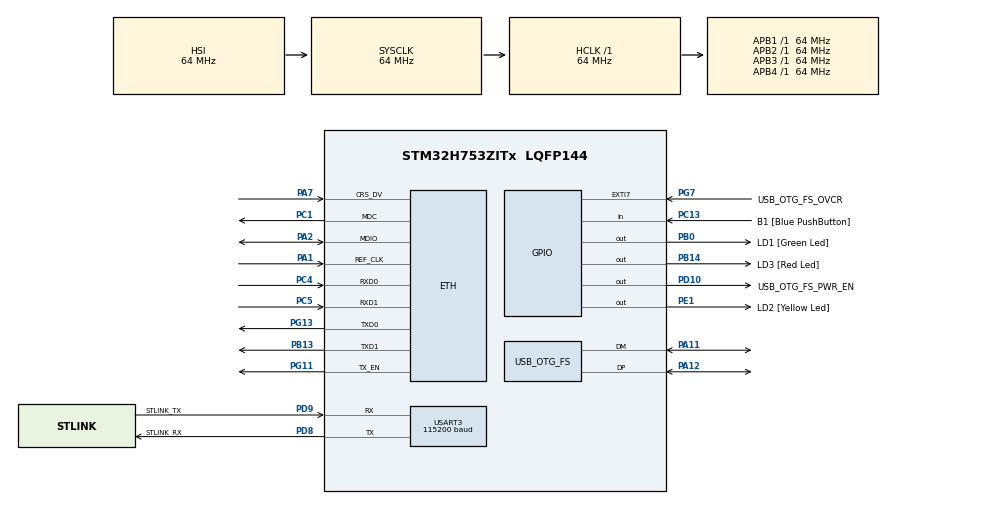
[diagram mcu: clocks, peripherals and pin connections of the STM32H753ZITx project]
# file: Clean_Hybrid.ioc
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CORTEX_M7.CPU_DCache=Disabled
CORTEX_M7.CPU_ICache=Disabled
CORTEX_M7.MPU_Control=__NULL
ETH.ETH_RX_DESC_CNT=4
ETH.ETH_TX_DESC_CNT=4
ETH.MACAddr=00\:80\:E1\:00\:00\:00
ETH.MediaInterface=HAL_ETH_RMII_MODE
ETH.RxBuffAddress=0x30040200
ETH.RxBuffLen=1524
ETH.RxDescAddress=0x30040000
ETH.TxDescAddress=0x30040060
Mcu.Family=STM32H7
Mcu.Name=STM32H753ZITx
Mcu.Package=LQFP144
NVIC.OTG_FS_IRQn=true\:0\:0\:false\:false\:true\:true\:true\:true
NVIC.PriorityGroup=NVIC_PRIORITYGROUP_4
PA1.Mode=RMII
PA1.Signal=ETH_REF_CLK
PA11.Mode=Device_Only
PA11.Signal=USB_OTG_FS_DM
PA12.Mode=Device_Only
PA12.Signal=USB_OTG_FS_DP
PA2.Mode=RMII
PA2.Signal=ETH_MDIO
PA7.Mode=RMII
PA7.Signal=ETH_CRS_DV
PA8.Signal=USB_OTG_FS_SOF
PA9.Signal=USB_OTG_FS_VBUS
PB0.GPIO_Label=LD1 [Green Led]
PB0.Signal=GPIO_Output
PB13.Mode=RMII
PB13.Signal=ETH_TXD1
PB14.GPIO_Label=LD3 [Red Led]
PB14.Signal=GPIO_Output
PC1.Mode=RMII
PC1.Signal=ETH_MDC
PC13.GPIO_Label=B1 [Blue PushButton]
PC13.Signal=GPIO_Input
PC14-OSC32_IN\ (OSC32_IN).Mode=LSE-External-Oscillator
PC14-OSC32_IN\ (OSC32_IN).Signal=RCC_OSC32_IN
PC15-OSC32_OUT\ (OSC32_OUT).Mode=LSE-External-Oscillator
PC15-OSC32_OUT\ (OSC32_OUT).Signal=RCC_OSC32_OUT
PC4.Mode=RMII
PC4.Signal=ETH_RXD0
PC5.Mode=RMII
PC5.Signal=ETH_RXD1
PD10.GPIO_Label=USB_OTG_FS_PWR_EN
PD10.Signal=GPIO_Output
PD8.GPIO_Label=STLINK_RX
PD8.Mode=Asynchronous
PD8.Signal=USART3_TX
PD9.GPIO_Label=STLINK_TX
PD9.Mode=Asynchronous
PD9.Signal=USART3_RX
PE1.GPIO_Label=LD2 [Yellow Led]
PE1.Signal=GPIO_Output
PG11.Mode=RMII
PG11.Signal=ETH_TX_EN
PG13.Mode=RMII
PG13.Signal=ETH_TXD0
PG7.GPIO_Label=USB_OTG_FS_OVCR
PG7.Signal=GPXTI7
PH0-OSC_IN\ (PH0).Mode=HSE-External-Clock-Source
PH0-OSC_IN\ (PH0).Signal=RCC_OSC_IN
PH1-OSC_OUT\ (PH1).Signal=RCC_OSC_OUT
ProjectManager.HeapSize=0x200
ProjectManager.StackSize=0x400
ProjectManager.TargetToolchain=STM32CubeIDE
RCC.ADCFreq_Value=16125000
RCC.APB1Freq_Value=64000000
RCC.APB2Freq_Value=64000000
RCC.APB3Freq_Value=64000000
RCC.APB4Freq_Value=64000000
RCC.CortexFreq_Value=64000000
RCC.DIVM1=1
RCC.DIVN1=24
RCC.DIVQ1=4
RCC.HCLKFreq_Value=64000000
RCC.HSE_VALUE=8000000
RCC.PLLFRACN=0
RCC.PLLSourceVirtual=RCC_PLLSOURCE_HSE
RCC.PWR_Regulator_Voltage_Scale=PWR_REGULATOR_VOLTAGE_SCALE2
RCC.SYSCLKFreq_VALUE=64000000
RCC.USBFreq_Value=48000000
USART3.AutoBaudRateEnableParam=UART_ADVFEATURE_AUTOBAUDRATE_DISABLE
USART3.BaudRate=115200
USART3.ClockPrescaler=PRESCALER_DIV1
USART3.DMADisableonRxErrorParam=ADVFEATURE_DMA_ENABLEONRXERROR
USART3.DataInvertParam=ADVFEATURE_DATAINV_DISABLE
USART3.FIFOMode=FIFOMODE_DISABLE
USART3.MSBFirstParam=ADVFEATURE_MSBFIRST_DISABLE
USART3.Mode=MODE_TX_RX
USART3.OneBitSampling=UART_ONE_BIT_SAMPLE_DISABLE
USART3.OverSampling=UART_OVERSAMPLING_16
USART3.OverrunDisableParam=ADVFEATURE_OVERRUN_ENABLE
USART3.Parity=PARITY_NONE
USART3.RXFIFOThreshold=RXFIFO_THRESHOLD_1EIGHTHFULL
USART3.RxPinLevelInvertParam=ADVFEATURE_RXINV_DISABLE
USART3.StopBits=STOPBITS_1
USART3.SwapParam=ADVFEATURE_SWAP_DISABLE
USART3.TXFIFOThreshold=TXFIFO_THRESHOLD_1EIGHTHFULL
USART3.TxPinLevelInvertParam=ADVFEATURE_TXINV_DISABLE
USART3.VirtualMode-Asynchronous=VM_ASYNC
USART3.WordLength=WORDLENGTH_8B
USB_DEVICE.CLASS_NAME_FS=CDC
USB_DEVICE.VirtualMode-CDC_FS=Cdc
USB_DEVICE.VirtualModeFS=Cdc_FS
USB_OTG_FS.VirtualMode=Device_Only
VP_USB_DEVICE_VS_USB_DEVICE_CDC_FS.Mode=CDC_FS
board=NUCLEO-H753ZI

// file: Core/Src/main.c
/* USER CODE BEGIN Header */
/**
  ******************************************************************************
  * @file           : main.c
  * @brief          : Main program body
  ******************************************************************************
  * @attention
  *
  * Copyright (c) 2023 STMicroelectronics.
  * All rights reserved.
  *
  * This software is licensed under terms that can be found in the LICENSE file
  * in the root directory of this software component.
  * If no LICENSE file comes with this software, it is provided AS-IS.
  *
  ******************************************************************************
  */
/* USER CODE END Header */
#include "main.h"
#include "string.h"
#include "usb_device.h"

/* USER CODE BEGIN Includes */
#include "usbd_cdc_if.h"
#include "ed25519_signature.h"
#include <oqs/oqs.h>
#include "sign.h"

/* USER CODE END Includes */

#if defined ( __ICCARM__ ) /*!< IAR Compiler */
#pragma location=0x30040000
ETH_DMADescTypeDef  DMARxDscrTab[ETH_RX_DESC_CNT]; /* Ethernet Rx DMA Descriptors */
#pragma location=0x30040060
ETH_DMADescTypeDef  DMATxDscrTab[ETH_TX_DESC_CNT]; /* Ethernet Tx DMA Descriptors */

#elif defined ( __CC_ARM )  /* MDK ARM Compiler */

__attribute__((at(0x30040000))) ETH_DMADescTypeDef  DMARxDscrTab[ETH_RX_DESC_CNT]; /* Ethernet Rx DMA Descriptors */
__attribute__((at(0x30040060))) ETH_DMADescTypeDef  DMATxDscrTab[ETH_TX_DESC_CNT]; /* Ethernet Tx DMA Descriptors */

#elif defined ( __GNUC__ ) /* GNU Compiler */
ETH_DMADescTypeDef DMARxDscrTab[ETH_RX_DESC_CNT] __attribute__((section(".RxDecripSection"))); /* Ethernet Rx DMA Descriptors */
ETH_DMADescTypeDef DMATxDscrTab[ETH_TX_DESC_CNT] __attribute__((section(".TxDecripSection")));   /* Ethernet Tx DMA Descriptors */

#endif

ETH_TxPacketConfig TxConfig;

ETH_HandleTypeDef heth;

UART_HandleTypeDef huart3;

void SystemClock_Config(void);
static void MX_GPIO_Init(void);
static void MX_ETH_Init(void);
static void MX_USART3_UART_Init(void);
/* USER CODE BEGIN PFP */
void receiveData(size_t size);
/* USER CODE END PFP */

/* USER CODE BEGIN 0 */
uint8_t* buffer;
size_t buffer_size;
uint8_t done;

void cleanup_heap(uint8_t *public_key,
                  uint8_t *message, uint8_t *signature) {

	free(public_key);
	free(message);
	free(signature);
}

void fn_cleanup(uint8_t *public_key,
                  uint8_t *message) {

	free(public_key);
	free(message);
}

void print(char* msg){
	CDC_Transmit_FS((uint8_t *)msg, strlen(msg) + 1);
}

static OQS_STATUS QverifyPacket(Packet *pkt){

#ifdef OQS_ENABLE_SIG_dilithium_5
	uint8_t *public_key = NULL;
	int result;
//	int sTime, eTime;
//	char time[20];

	size_t message_len = sizeof(pkt->version) + sizeof(pkt->size) + pkt->size;
	unsigned char* message = malloc(message_len);
	memset(message, 0U, message_len);
	memcpy(message, &pkt->version, sizeof(pkt->version));
	memcpy(message + sizeof(pkt->version), &pkt->size, sizeof(pkt->size));
	memcpy(message + sizeof(pkt->version) + sizeof(pkt->size), pkt->payload, pkt->size);

	public_key = malloc(OQS_SIG_dilithium_5_length_public_key);

	print("Send Quantum Public Key\n");
	receiveData(OQS_SIG_dilithium_5_length_public_key);
	memcpy(public_key, buffer, OQS_SIG_dilithium_5_length_public_key);
	free(buffer);

//	sTime = HAL_GetTick();
	result = pqcrystals_dilithium5_ref_verify(pkt->Qsignature, pkt->sigSize, message, message_len, public_key);
//	eTime = HAL_GetTick();
	if(result != 0){
		print("ERROR:OQS_SIG_verify failed!\n");
		cleanup_heap(public_key, message, pkt->Qsignature);
		return OQS_ERROR;
	}

//	itoa(eTime-sTime, time, 10);
//	print("Quantum Time\n");
//	print(time);

	fn_cleanup(public_key, message);
	return OQS_SUCCESS;
#else
	printf("OQS_ENABLE_SIG_dilithium_5 was not enabled at compile time.\n");
	return OQS_SUCCESS;
#endif
}

int CverifyPacket(Packet *pkt){

	uint8_t* public_key;
//	int sTime, eTime;
//	char time[20];

	public_key = malloc(ed25519_public_key_size);

	print("Send Classic Public Key\n");
	receiveData(ed25519_public_key_size);
	memcpy(public_key, buffer, ed25519_public_key_size);
	free(buffer);
//	sTime = HAL_GetTick();
	if(ed25519_VerifySignature(pkt->Csignature, public_key, pkt->Qsignature, pkt->sigSize) == 0){
		print("Classic Signature Verification Error\n");
		exit(1);
	}
//	eTime = HAL_GetTick();
//	itoa(eTime-sTime, time, 10);
//	print("Classic Time\n");
//	print(time);

	OQS_MEM_insecure_free(public_key);
	return 0;
}

int verifyChecksum(Packet *pkt){
	int size = 0;
	unsigned char *temp = NULL;
	unsigned char  tempChecksum = pkt->checksum;

	size = sizeof(pkt->version) + sizeof(pkt->size) + pkt->size + sizeof(pkt->sigSize) + pkt->sigSize + ed25519_signature_size;
	temp = malloc(size);
	memcpy(temp, &pkt->version, sizeof(pkt->version));
	memcpy(temp + sizeof(pkt->version), &pkt->size, sizeof(pkt->size));
	memcpy(temp + sizeof(pkt->version) + sizeof(pkt->size), pkt->payload, pkt->size);
	memcpy(temp + sizeof(pkt->version) + sizeof(pkt->size) + pkt->size, &pkt->sigSize, sizeof(pkt->sigSize));
	memcpy(temp + sizeof(pkt->version) + sizeof(pkt->size) + pkt->size + sizeof(pkt->sigSize), pkt->Qsignature, pkt->sigSize);
	memcpy(temp + sizeof(pkt->version) + sizeof(pkt->size) + pkt->size + sizeof(pkt->sigSize) + pkt->sigSize, pkt->Csignature, ed25519_signature_size);

	for (int i = 0; i < size; i++){
			tempChecksum ^= temp[i];
	}
	free(temp);

	return tempChecksum;

}

OQS_STATUS Process_Data_to_Pkt(Packet *pkt){
	int cur_Pos = 0;

	memcpy(&pkt->version, buffer, sizeof(pkt->version));
	cur_Pos += sizeof(pkt->version);

	memcpy(&pkt->size, buffer + cur_Pos, sizeof(pkt->size));
	cur_Pos += sizeof(pkt->size);

	pkt->payload = malloc(pkt->size);
	memcpy(pkt->payload, buffer + cur_Pos, pkt->size);
	cur_Pos += pkt->size;

	memcpy(&pkt->sigSize, buffer + cur_Pos, sizeof(pkt->sigSize));
	cur_Pos += sizeof(pkt->sigSize);

	pkt->Qsignature = malloc(pkt->sigSize);
	memcpy(pkt->Qsignature, buffer + cur_Pos, pkt->sigSize);
	cur_Pos += pkt->sigSize;

	pkt->Csignature = malloc(ed25519_signature_size);
	memcpy(pkt->Csignature, buffer + cur_Pos, ed25519_signature_size);
	cur_Pos += ed25519_signature_size;

	memcpy(&pkt->checksum, buffer + cur_Pos, sizeof(pkt->checksum));
	cur_Pos += sizeof(pkt->checksum);

	if(cur_Pos == buffer_size){
		return OQS_SUCCESS;
	}
	else{
		return OQS_ERROR;
	}
}

void receiveData(size_t size){
	buffer_size = 0;
	buffer = malloc(size);
	done = 0;
	HAL_GPIO_WritePin(GPIOB, LD3_Pin, GPIO_PIN_SET);
	while(done == 0){
		HAL_Delay(1000);
	}
	HAL_GPIO_WritePin(GPIOB, LD3_Pin, GPIO_PIN_RESET);

}

void getPacket(Packet *pkt, int packet_size){
	receiveData(packet_size);
	HAL_GPIO_WritePin(GPIOB, LD1_Pin, GPIO_PIN_SET);

	if(Process_Data_to_Pkt(pkt) != OQS_SUCCESS){
		  free(buffer);
		  free(pkt->payload);
		  free(pkt->Qsignature);
		  free(pkt->Csignature);
		  exit(1);
	  }
	  free(buffer);

	  if(verifyChecksum(pkt) != 0){
		    HAL_GPIO_WritePin(GPIOB, LD3_Pin, GPIO_PIN_SET);
			exit(1);
	  }
	  if(CverifyPacket(pkt)){
		    HAL_GPIO_WritePin(GPIOB, LD3_Pin, GPIO_PIN_SET);
			exit(1);
	  }

	  if(QverifyPacket(pkt) != OQS_SUCCESS){
		    HAL_GPIO_WritePin(GPIOB, LD3_Pin, GPIO_PIN_SET);
			exit(1);
	  }

	  HAL_GPIO_WritePin(GPIOB, LD1_Pin, GPIO_PIN_RESET);
	  print("Packet OK!\n");

}
/* USER CODE END 0 */

int main(void)
{

  /* MCU Configuration--------------------------------------------------------*/

  /* Reset of all peripherals, Initializes the Flash interface and the Systick. */
  HAL_Init();

  /* Configure the system clock */
  SystemClock_Config();

  /* Initialize all configured peripherals */
  MX_GPIO_Init();
  MX_ETH_Init();
  MX_USART3_UART_Init();
  MX_USB_DEVICE_Init();
  /* USER CODE BEGIN 2 */

  Packet pkt;

  getPacket(&pkt, 154609);
//  getPacket(&pkt, 209473);

  free(pkt.payload);
  free(pkt.Qsignature);
  free(pkt.Csignature);
  /* USER CODE END 2 */

  /* Infinite loop */
  while (1)
  {

  }
}

void SystemClock_Config(void)
{
  RCC_OscInitTypeDef RCC_OscInitStruct = {0};
  RCC_ClkInitTypeDef RCC_ClkInitStruct = {0};

  /** Supply configuration update enable
  */
  HAL_PWREx_ConfigSupply(PWR_LDO_SUPPLY);

  /** Configure the main internal regulator output voltage
  */
  __HAL_PWR_VOLTAGESCALING_CONFIG(PWR_REGULATOR_VOLTAGE_SCALE2);

  while(!__HAL_PWR_GET_FLAG(PWR_FLAG_VOSRDY)) {}

  /** Initializes the RCC Oscillators according to the specified parameters
  * in the RCC_OscInitTypeDef structure.
  */
  RCC_OscInitStruct.OscillatorType = RCC_OSCILLATORTYPE_HSI|RCC_OSCILLATORTYPE_HSE;
  RCC_OscInitStruct.HSEState = RCC_HSE_BYPASS;
  RCC_OscInitStruct.HSIState = RCC_HSI_DIV1;
  RCC_OscInitStruct.HSICalibrationValue = RCC_HSICALIBRATION_DEFAULT;
  RCC_OscInitStruct.PLL.PLLState = RCC_PLL_ON;
  RCC_OscInitStruct.PLL.PLLSource = RCC_PLLSOURCE_HSE;
  RCC_OscInitStruct.PLL.PLLM = 1;
  RCC_OscInitStruct.PLL.PLLN = 24;
  RCC_OscInitStruct.PLL.PLLP = 2;
  RCC_OscInitStruct.PLL.PLLQ = 4;
  RCC_OscInitStruct.PLL.PLLR = 2;
  RCC_OscInitStruct.PLL.PLLRGE = RCC_PLL1VCIRANGE_3;
  RCC_OscInitStruct.PLL.PLLVCOSEL = RCC_PLL1VCOWIDE;
  RCC_OscInitStruct.PLL.PLLFRACN = 0;
  if (HAL_RCC_OscConfig(&RCC_OscInitStruct) != HAL_OK)
  {
    Error_Handler();
  }

  /** Initializes the CPU, AHB and APB buses clocks
  */
  RCC_ClkInitStruct.ClockType = RCC_CLOCKTYPE_HCLK|RCC_CLOCKTYPE_SYSCLK
                              |RCC_CLOCKTYPE_PCLK1|RCC_CLOCKTYPE_PCLK2
                              |RCC_CLOCKTYPE_D3PCLK1|RCC_CLOCKTYPE_D1PCLK1;
  RCC_ClkInitStruct.SYSCLKSource = RCC_SYSCLKSOURCE_HSI;
  RCC_ClkInitStruct.SYSCLKDivider = RCC_SYSCLK_DIV1;
  RCC_ClkInitStruct.AHBCLKDivider = RCC_HCLK_DIV1;
  RCC_ClkInitStruct.APB3CLKDivider = RCC_APB3_DIV1;
  RCC_ClkInitStruct.APB1CLKDivider = RCC_APB1_DIV1;
  RCC_ClkInitStruct.APB2CLKDivider = RCC_APB2_DIV1;
  RCC_ClkInitStruct.APB4CLKDivider = RCC_APB4_DIV1;

  if (HAL_RCC_ClockConfig(&RCC_ClkInitStruct, FLASH_LATENCY_1) != HAL_OK)
  {
    Error_Handler();
  }
}

static void MX_ETH_Init(void)
{

   static uint8_t MACAddr[6];

  heth.Instance = ETH;
  MACAddr[0] = 0x00;
  MACAddr[1] = 0x80;
  MACAddr[2] = 0xE1;
  MACAddr[3] = 0x00;
  MACAddr[4] = 0x00;
  MACAddr[5] = 0x00;
  heth.Init.MACAddr = &MACAddr[0];
  heth.Init.MediaInterface = HAL_ETH_RMII_MODE;
  heth.Init.TxDesc = DMATxDscrTab;
  heth.Init.RxDesc = DMARxDscrTab;
  heth.Init.RxBuffLen = 1524;

  if (HAL_ETH_Init(&heth) != HAL_OK)
  {
    Error_Handler();
  }

  memset(&TxConfig, 0 , sizeof(ETH_TxPacketConfig));
  TxConfig.Attributes = ETH_TX_PACKETS_FEATURES_CSUM | ETH_TX_PACKETS_FEATURES_CRCPAD;
  TxConfig.ChecksumCtrl = ETH_CHECKSUM_IPHDR_PAYLOAD_INSERT_PHDR_CALC;
  TxConfig.CRCPadCtrl = ETH_CRC_PAD_INSERT;

}

static void MX_USART3_UART_Init(void)
{

  huart3.Instance = USART3;
  huart3.Init.BaudRate = 115200;
  huart3.Init.WordLength = UART_WORDLENGTH_8B;
  huart3.Init.StopBits = UART_STOPBITS_1;
  huart3.Init.Parity = UART_PARITY_NONE;
  huart3.Init.Mode = UART_MODE_TX_RX;
  huart3.Init.HwFlowCtl = UART_HWCONTROL_NONE;
  huart3.Init.OverSampling = UART_OVERSAMPLING_16;
  huart3.Init.OneBitSampling = UART_ONE_BIT_SAMPLE_DISABLE;
  huart3.Init.ClockPrescaler = UART_PRESCALER_DIV1;
  huart3.AdvancedInit.AdvFeatureInit = UART_ADVFEATURE_NO_INIT;
  if (HAL_UART_Init(&huart3) != HAL_OK)
  {
    Error_Handler();
  }
  if (HAL_UARTEx_SetTxFifoThreshold(&huart3, UART_TXFIFO_THRESHOLD_1_8) != HAL_OK)
  {
    Error_Handler();
  }
  if (HAL_UARTEx_SetRxFifoThreshold(&huart3, UART_RXFIFO_THRESHOLD_1_8) != HAL_OK)
  {
    Error_Handler();
  }
  if (HAL_UARTEx_DisableFifoMode(&huart3) != HAL_OK)
  {
    Error_Handler();
  }

}

static void MX_GPIO_Init(void)
{
  GPIO_InitTypeDef GPIO_InitStruct = {0};

  /* GPIO Ports Clock Enable */
  __HAL_RCC_GPIOC_CLK_ENABLE();
  __HAL_RCC_GPIOH_CLK_ENABLE();
  __HAL_RCC_GPIOA_CLK_ENABLE();
  __HAL_RCC_GPIOB_CLK_ENABLE();
  __HAL_RCC_GPIOD_CLK_ENABLE();
  __HAL_RCC_GPIOG_CLK_ENABLE();
  __HAL_RCC_GPIOE_CLK_ENABLE();

  /*Configure GPIO pin Output Level */
  HAL_GPIO_WritePin(GPIOB, LD1_Pin|LD3_Pin, GPIO_PIN_RESET);

  /*Configure GPIO pin Output Level */
  HAL_GPIO_WritePin(USB_OTG_FS_PWR_EN_GPIO_Port, USB_OTG_FS_PWR_EN_Pin, GPIO_PIN_RESET);

  /*Configure GPIO pin Output Level */
  HAL_GPIO_WritePin(LD2_GPIO_Port, LD2_Pin, GPIO_PIN_RESET);

  /*Configure GPIO pin : B1_Pin */
  GPIO_InitStruct.Pin = B1_Pin;
  GPIO_InitStruct.Mode = GPIO_MODE_INPUT;
  GPIO_InitStruct.Pull = GPIO_NOPULL;
  HAL_GPIO_Init(B1_GPIO_Port, &GPIO_InitStruct);

  /*Configure GPIO pins : LD1_Pin LD3_Pin */
  GPIO_InitStruct.Pin = LD1_Pin|LD3_Pin;
  GPIO_InitStruct.Mode = GPIO_MODE_OUTPUT_PP;
  GPIO_InitStruct.Pull = GPIO_NOPULL;
  GPIO_InitStruct.Speed = GPIO_SPEED_FREQ_LOW;
  HAL_GPIO_Init(GPIOB, &GPIO_InitStruct);

  /*Configure GPIO pin : USB_OTG_FS_PWR_EN_Pin */
  GPIO_InitStruct.Pin = USB_OTG_FS_PWR_EN_Pin;
  GPIO_InitStruct.Mode = GPIO_MODE_OUTPUT_PP;
  GPIO_InitStruct.Pull = GPIO_NOPULL;
  GPIO_InitStruct.Speed = GPIO_SPEED_FREQ_LOW;
  HAL_GPIO_Init(USB_OTG_FS_PWR_EN_GPIO_Port, &GPIO_InitStruct);

  /*Configure GPIO pin : USB_OTG_FS_OVCR_Pin */
  GPIO_InitStruct.Pin = USB_OTG_FS_OVCR_Pin;
  GPIO_InitStruct.Mode = GPIO_MODE_IT_RISING;
  GPIO_InitStruct.Pull = GPIO_NOPULL;
  HAL_GPIO_Init(USB_OTG_FS_OVCR_GPIO_Port, &GPIO_InitStruct);

  /*Configure GPIO pin : LD2_Pin */
  GPIO_InitStruct.Pin = LD2_Pin;
  GPIO_InitStruct.Mode = GPIO_MODE_OUTPUT_PP;
  GPIO_InitStruct.Pull = GPIO_NOPULL;
  GPIO_InitStruct.Speed = GPIO_SPEED_FREQ_LOW;
  HAL_GPIO_Init(LD2_GPIO_Port, &GPIO_InitStruct);

}

void Error_Handler(void)
{
  __disable_irq();
  while (1)
  {
  }
}
